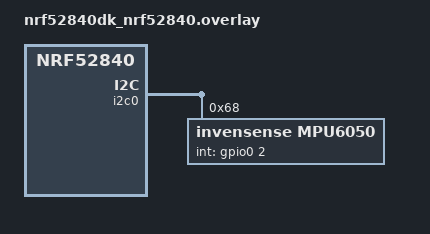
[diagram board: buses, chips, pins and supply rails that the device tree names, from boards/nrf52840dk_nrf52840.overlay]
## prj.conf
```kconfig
CONFIG_LOG=y
CONFIG_CBPRINTF_FP_SUPPORT=y

CONFIG_SENSOR=y
CONFIG_I2C=y
CONFIG_GPIO=y
CONFIG_MPU6050=y
CONFIG_MPU6050_TRIGGER_GLOBAL_THREAD=y
```

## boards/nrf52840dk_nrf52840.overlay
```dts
// To get started, press Ctrl+Space to bring up the completion menu and view the available nodes.

// You can also use the buttons in the sidebar to perform actions on nodes.
// Actions currently available include:

// * Enabling / disabling the node
// * Adding the bus to a bus
// * Removing the node
// * Connecting ADC channels

// For more help, browse the DeviceTree documentation at https://docs.zephyrproject.org/latest/guides/dts/index.html
// You can also visit the nRF DeviceTree extension documentation at https://docs.nordicsemi.com/bundle/nrf-connect-vscode/page/guides/ncs_configure_app.html#devicetree-support-in-the-extension

&i2c0 {
    mpu6050@68 {
        compatible = "invensense,mpu6050";
        reg = <0x68>;  /* Endereço I2C padrão */
        int-gpios = <&gpio0 2 GPIO_ACTIVE_HIGH>; 
        label = "MPU6050";
    };
};
```

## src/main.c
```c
/*
 * Projeto: Sensor MPU6050 com Interrupção
 * Autor: João Dullius
 * Licença: Apache-2.0
 */

 #include <zephyr/kernel.h>
 #include <zephyr/device.h>
 #include <zephyr/drivers/sensor.h>
 #include <zephyr/logging/log.h>
 
 LOG_MODULE_REGISTER(sensor_mpu6050_int, LOG_LEVEL_DBG);
 
 static void mpu6050_data_ready_handler(const struct device *sensor, const struct sensor_trigger *trig) {
    struct sensor_value accel[3], gyro[3];

    if (sensor_sample_fetch(sensor) < 0) {
        LOG_ERR("Falha ao obter amostra do sensor");
        return;
    }

    sensor_channel_get(sensor, SENSOR_CHAN_ACCEL_X, &accel[0]);
    sensor_channel_get(sensor, SENSOR_CHAN_ACCEL_Y, &accel[1]);
    sensor_channel_get(sensor, SENSOR_CHAN_ACCEL_Z, &accel[2]);

    sensor_channel_get(sensor, SENSOR_CHAN_GYRO_X, &gyro[0]);
    sensor_channel_get(sensor, SENSOR_CHAN_GYRO_Y, &gyro[1]);
    sensor_channel_get(sensor, SENSOR_CHAN_GYRO_Z, &gyro[2]);

    LOG_INF("Aceleração: X=%.3f, Y=%.3f, Z=%.3f", 
            sensor_value_to_double(&accel[0]), 
            sensor_value_to_double(&accel[1]), 
            sensor_value_to_double(&accel[2]));

    LOG_INF("Giroscópio: X=%.3f, Y=%.3f, Z=%.3f", 
            sensor_value_to_double(&gyro[0]), 
            sensor_value_to_double(&gyro[1]), 
            sensor_value_to_double(&gyro[2]));
}

 static const struct device *init_sensor(void) {
     const struct device *dev = DEVICE_DT_GET_ANY(invensense_mpu6050);
     
     if (!device_is_ready(dev)) {
         LOG_ERR("MPU6050 não encontrado!");
         return NULL;
     }
  
     LOG_INF("Configurando interrupção de dados prontos do MPU6050...");
     static struct sensor_trigger trigger;
     trigger.type = SENSOR_TRIG_DATA_READY;
     trigger.chan = SENSOR_CHAN_ALL;
 
     if (sensor_trigger_set(dev, &trigger, mpu6050_data_ready_handler) < 0) {
         LOG_ERR("Falha ao configurar interrupção de dados prontos do MPU6050");
         return NULL;
     }
 
     return dev;
 }
 
 int main(void) {
     const struct device *sensor = init_sensor();
     if (!sensor) {
         return -1;
     }
 
     LOG_INF("MPU6050 configurado! Aguardando eventos de dados prontos...");
 
     while (1) {
         k_sleep(K_FOREVER);
     }
 
     return 0;
 }
 
```
